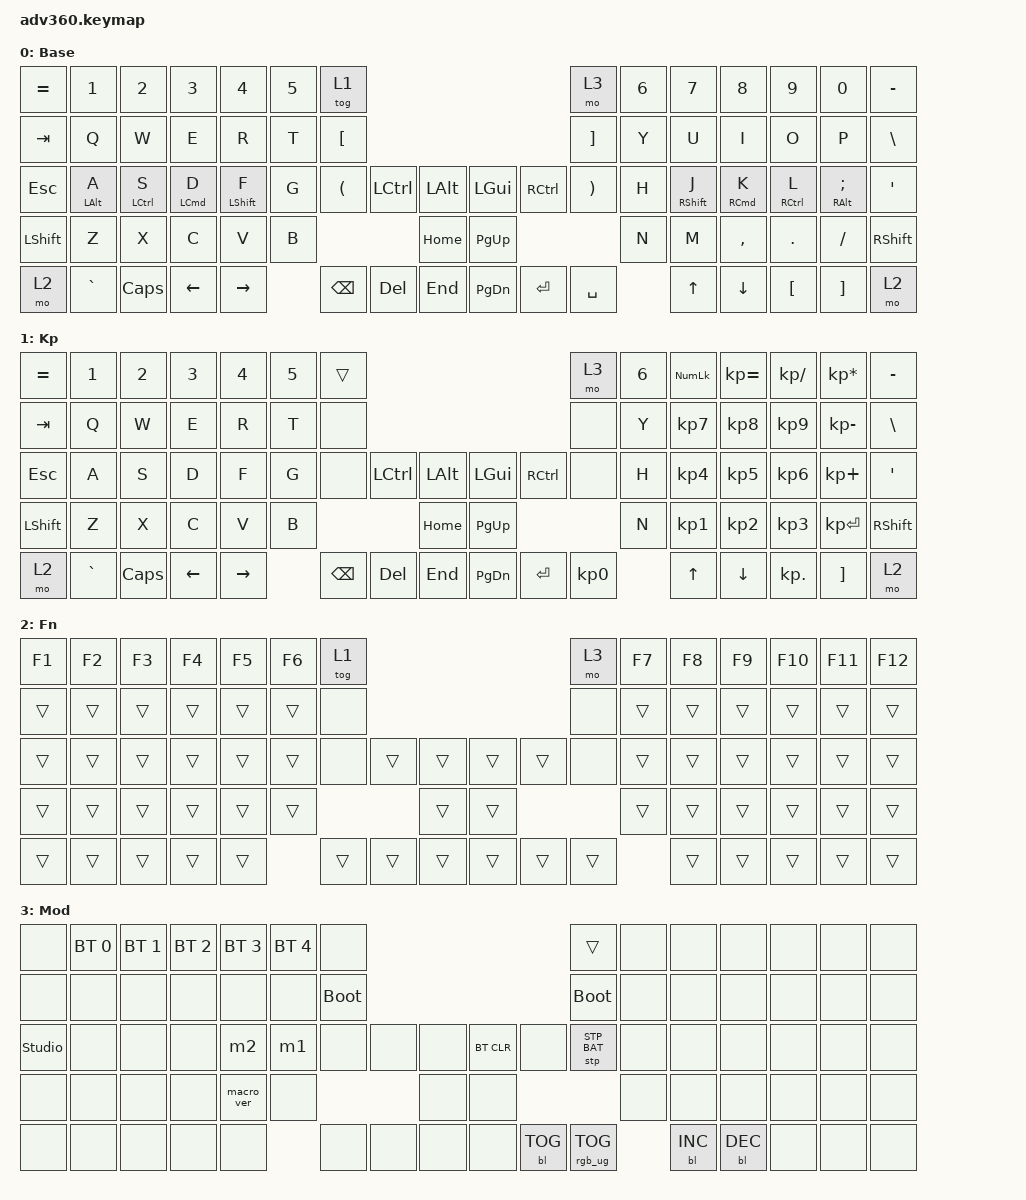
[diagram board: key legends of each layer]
#include <dt-bindings/zmk/stp.h>
#include <behaviors.dtsi>
#include <dt-bindings/zmk/backlight.h>
#include <dt-bindings/zmk/bt.h>
#include <dt-bindings/zmk/keys.h>
#include <dt-bindings/zmk/rgb.h>

/ {
    behaviors {
        #include "macros.dtsi"
      #include "version.dtsi"

        hm: homerow_mods {
            compatible = "zmk,behavior-hold-tap";
            label = "HOMEROW_MODS";
            #binding-cells = <2>;
            tapping-term-ms = <200>;
            quick_tap_ms = <175>;
            flavor = "tap-preferred";
            bindings = <&kp>, <&kp>;
        };
    };

    macros {
        m1: m1 {
            compatible = "zmk,behavior-macro";
            #binding-cells = <0>;
            bindings = <&none &kp AT &kp LS(A) &kp B &kp S &kp T &kp R &kp A &kp C &kp T &kp N2 &kp N0 &kp N2 &kp N5 &kp N0 &kp N1>;
            label = "M1";
        };

        m2: m2 {
            compatible = "zmk,behavior-macro";
            #binding-cells = <0>;
            bindings = <&none &kp N2 &kp N0 &kp N1 &kp N6 &kp N1 &kp N1>;
            label = "M2";
        };
    };

    keymap {
        compatible = "zmk,keymap";

        default_layer {
            display-name = "Base";
            bindings = <
&kp EQUAL  &kp N1          &kp N2              &kp N3              &kp N4            &kp N5  &tog 1                                                               &mo 3                  &kp N6  &kp N7             &kp N8               &kp N9               &kp N0              &kp MINUS
&kp TAB    &kp Q           &kp W               &kp E               &kp R             &kp T   &kp LEFT_BRACKET                                                     &kp RIGHT_BRACKET      &kp Y   &kp U              &kp I                &kp O                &kp P               &kp BSLH
&kp ESC    &hm LEFT_ALT A  &hm LEFT_CONTROL S  &hm LEFT_COMMAND D  &hm LEFT_SHIFT F  &kp G   &kp LEFT_PARENTHESIS  &kp LCTRL  &kp LALT      &kp LGUI   &kp RCTRL  &kp RIGHT_PARENTHESIS  &kp H   &hm RIGHT_SHIFT J  &hm RIGHT_COMMAND K  &hm RIGHT_CONTROL L  &hm RIGHT_ALT SEMI  &kp SQT
&kp LSHFT  &kp Z           &kp X               &kp C               &kp V             &kp B                                    &kp HOME      &kp PG_UP                                    &kp N   &kp M              &kp COMMA            &kp DOT              &kp FSLH            &kp RSHFT
&mo 2      &kp GRAVE       &kp CAPS            &kp LEFT            &kp RIGHT                 &kp BSPC              &kp DEL    &kp END       &kp PG_DN  &kp ENTER  &kp SPACE                      &kp UP             &kp DOWN             &kp LBKT             &kp RBKT            &mo 2
            >;
        };

        keypad {
            display-name = "Kp";
            bindings = <
&kp EQUAL  &kp N1     &kp N2    &kp N3    &kp N4     &kp N5  &trans                                                   &mo 3      &kp N6  &kp KP_NUM  &kp KP_EQUAL  &kp KP_DIVIDE  &kp KP_MULTIPLY  &kp MINUS
&kp TAB    &kp Q      &kp W     &kp E     &kp R      &kp T   &none                                                    &none      &kp Y   &kp KP_N7   &kp KP_N8     &kp KP_N9      &kp KP_MINUS     &kp BSLH
&kp ESC    &kp A      &kp S     &kp D     &kp F      &kp G   &none     &kp LCTRL  &kp LALT      &kp LGUI   &kp RCTRL  &none      &kp H   &kp KP_N4   &kp KP_N5     &kp KP_N6      &kp KP_PLUS      &kp SQT
&kp LSHFT  &kp Z      &kp X     &kp C     &kp V      &kp B                        &kp HOME      &kp PG_UP                        &kp N   &kp KP_N1   &kp KP_N2     &kp KP_N3      &kp KP_ENTER     &kp RSHFT
&mo 2      &kp GRAVE  &kp CAPS  &kp LEFT  &kp RIGHT          &kp BSPC  &kp DEL    &kp END       &kp PG_DN  &kp ENTER  &kp KP_N0          &kp UP      &kp DOWN      &kp KP_DOT     &kp RBKT         &mo 2
            >;
        };

        fn {
            display-name = "Fn";
            bindings = <
&kp F1  &kp F2  &kp F3  &kp F4  &kp F5  &kp F6  &tog 1                                      &mo 3   &kp F7  &kp F8  &kp F9  &kp F10  &kp F11  &kp F12
&trans  &trans  &trans  &trans  &trans  &trans  &none                                       &none   &trans  &trans  &trans  &trans   &trans   &trans
&trans  &trans  &trans  &trans  &trans  &trans  &none   &trans  &trans      &trans  &trans  &none   &trans  &trans  &trans  &trans   &trans   &trans
&trans  &trans  &trans  &trans  &trans  &trans                  &trans      &trans                  &trans  &trans  &trans  &trans   &trans   &trans
&trans  &trans  &trans  &trans  &trans          &trans  &trans  &trans      &trans  &trans  &trans          &trans  &trans  &trans   &trans   &trans
            >;
        };

        mod {
            display-name = "Mod";
            bindings = <
&none           &bt BT_SEL 0  &bt BT_SEL 1  &bt BT_SEL 2  &bt BT_SEL 3  &bt BT_SEL 4  &none                                                  &trans           &none  &none       &none       &none  &none  &none
&none           &none         &none         &none         &none         &none         &bootloader                                            &bootloader      &none  &none       &none       &none  &none  &none
&studio_unlock  &none         &none         &none         &m2           &m1           &none        &none  &none      &bt BT_CLR  &none       &stp STP_BAT     &none  &none       &none       &none  &none  &none
&none           &none         &none         &none         &macro_ver    &none                             &none      &none                                    &none  &none       &none       &none  &none  &none
&none           &none         &none         &none         &none                       &none        &none  &none      &none       &bl BL_TOG  &rgb_ug RGB_TOG         &bl BL_INC  &bl BL_DEC  &none  &none  &none
            >;
        };

        extra1 {
            display-name = "Red";
            status = "reserved";
        };

        extra2 {
            display-name = "Purple";
            status = "reserved";
        };

        extra3 {
            display-name = "Cyan";
            status = "reserved";
        };

        extra4 {
            display-name = "Yellow";
            status = "reserved";
        };
    };
};
